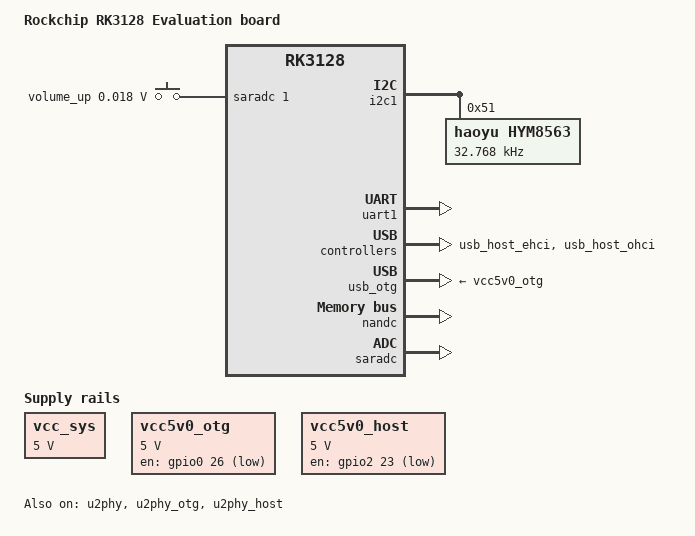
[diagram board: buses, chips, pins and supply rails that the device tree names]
/*
 * (C) Copyright 2017 Rockchip Electronics Co., Ltd
 *
 * SPDX-License-Identifier:     GPL-2.0+
 */

/dts-v1/;

#include "rk3128.dtsi"
#include "rk3128-u-boot.dtsi"

/ {
	model = "Rockchip RK3128 Evaluation board";
	compatible = "rockchip,rk3128-evb", "rockchip,rk3128";


	vcc_sys: vcc-sys {
		compatible = "regulator-fixed";
		regulator-name = "vcc_sys";
		regulator-always-on;
		regulator-boot-on;
		regulator-min-microvolt = <5000000>;
		regulator-max-microvolt = <5000000>;
	};

	vcc5v0_otg: vcc5v0-otg-drv {
		compatible = "regulator-fixed";
		regulator-name = "vcc5v0_otg";
		gpio = <&gpio0 26 GPIO_ACTIVE_HIGH>;
		pinctrl-names = "default";
		pinctrl-0 = <&otg_vbus_drv>;
		regulator-min-microvolt = <5000000>;
		regulator-max-microvolt = <5000000>;
	};

	vcc5v0_host: vcc5v0-host-drv {
		compatible = "regulator-fixed";
		regulator-name = "vcc5v0_host";
		gpio = <&gpio2 23 GPIO_ACTIVE_HIGH>;
		pinctrl-names = "default";
		pinctrl-0 = <&host_vbus_drv>;
		regulator-min-microvolt = <5000000>;
		regulator-max-microvolt = <5000000>;
		regulator-always-on;
	};

	adc-keys {
		compatible = "adc-keys";
		io-channels = <&saradc 1>;
		io-channel-names = "buttons";
		keyup-threshold-microvolt = <1800000>;

		vol-up-key {
			label = "volume_up";
			linux,code = <115>;
			press-threshold-microvolt = <17595>;
		};
	};
};



&i2c1 {
	status = "okay";

        hym8563: hym8563@51 {
		compatible = "haoyu,hym8563";
		reg = <0x51>;
		#clock-cells = <0>;
		clock-frequency = <32768>;
		clock-output-names = "xin32k";
	};
};

&u2phy {
	status = "okay";
};

&u2phy_otg {
	status = "okay";
};

&u2phy_host {
	status = "okay";
};
&uart1 {
    clock-frequency = <24000000>;
    u-boot,dm-pre-reloc;
    status = "okay";
};

&usb_host_ehci {
	status = "okay";
};

&usb_host_ohci {
	status = "okay";
};

&usb_otg {
	vbus-supply = <&vcc5v0_otg>;
	status = "okay";
};


&nandc {
	status = "okay";
};

&pinctrl {
	pmic {
		pmic_int_l: pmic-int-l {
			rockchip,pins = <RK_GPIO3 22 RK_FUNC_GPIO &pcfg_pull_default>;
		};
	};

	usb_otg {
		otg_vbus_drv: otg-vbus-drv {
			rockchip,pins = <0 26 RK_FUNC_GPIO &pcfg_pull_none>;
		};
	};

	usb_host {
		host_vbus_drv: host-vbus-drv {
			rockchip,pins = <2 23 RK_FUNC_GPIO &pcfg_pull_none>;
		};
	};
};

&saradc {
    status = "okay";
};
